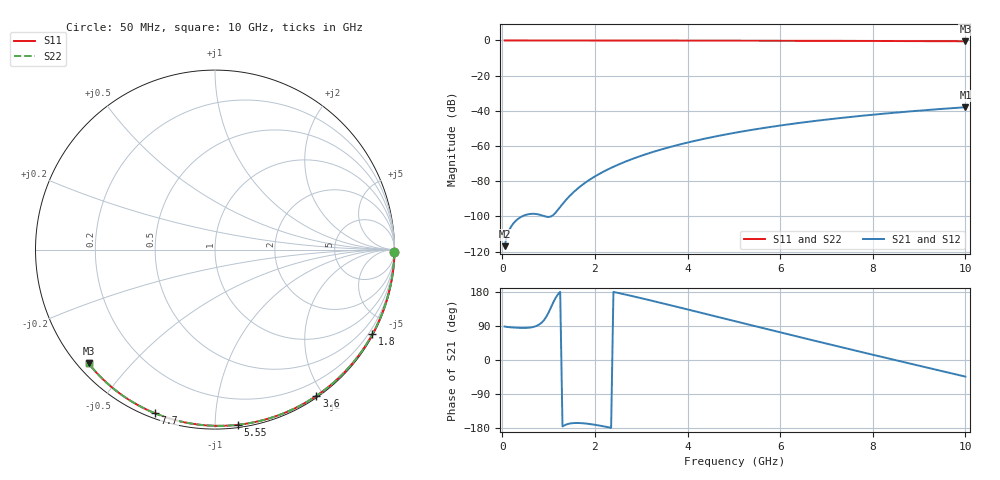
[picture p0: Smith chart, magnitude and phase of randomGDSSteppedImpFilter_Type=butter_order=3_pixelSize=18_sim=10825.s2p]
! freq	dB(S11)	phase(S11)	dB(S12)	phase(S12)
!  dB(S21)	phase(S21)	dB(S22)	phase(S22)
!S-par simulation data
#  GHz  S  DB  R 50
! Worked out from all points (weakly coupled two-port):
!   200 points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, 50 MHz to 10 GHz, reference 50 ohm
!   highest |S21| = -37.94 dB at 10 GHz (marker M1); lowest = -116.9 dB at 50 MHz (marker M2)
!   lowest |S11| = -0.5 dB at 10 GHz (marker M3), VSWR 37.12, Z = 1.54 - j19.2 ohm
!   |S11| at or under -10 dB: nowhere
!   |S22| runs from -0.5 to 0.0 dB; largest |S21 - S12| = 0
!   S11 on the Smith chart (normalised r, x): 50 MHz: open; 1.8 GHz: 0.03, -3.96; 3.6 GHz: 0.02, -1.91; 5.55 GHz: 0.02, -1.14; 7.7 GHz: 0.02, -0.70; 10 GHz: 0.03, -0.38
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0.05  -0.00 -0.8  -116.86 88.4  -116.86 88.4  -0.00 -0.8
0.45  -0.01 -7.2  -99.65 84.5  -99.65 84.5  -0.01 -7.2
0.9  -0.02 -14.3  -99.75 105.1  -99.75 105.1  -0.02 -14.3
1.75  -0.04 -27.5  -81.59 -167.0  -81.59 -167.0  -0.04 -27.5
1.8  -0.04 -28.3  -80.64 -167.6  -80.64 -167.6  -0.04 -28.3
1.85  -0.04 -29.1  -79.74 -168.3  -79.74 -168.3  -0.04 -29.1
2  -0.04 -31.4  -77.24 -171.0  -77.24 -171.0  -0.04 -31.4
2.15  -0.04 -33.7  -75.01 -174.2  -75.01 -174.2  -0.04 -33.7
2.35  -0.05 -36.7  -72.36 -179.0  -72.36 -179.0  -0.05 -36.7
2.55  -0.05 -39.8  -70.01 175.7  -70.01 175.7  -0.05 -39.8
2.95  -0.06 -45.7  -65.96 164.6  -65.96 164.6  -0.06 -45.7
3.4  -0.07 -52.4  -62.17 151.4  -62.17 151.4  -0.07 -52.4
3.6  -0.07 -55.3  -60.69 145.5  -60.69 145.5  -0.07 -55.3
4.3  -0.09 -65.3  -56.20 124.4  -56.20 124.4  -0.09 -65.3
5.05  -0.12 -75.7  -52.31 101.7  -52.31 101.7  -0.12 -75.7
5.55  -0.14 -82.5  -50.10 86.6  -50.10 86.6  -0.14 -82.5
6.1  -0.16 -89.8  -47.96 70.1  -47.96 70.1  -0.16 -89.8
6.7  -0.19 -97.6  -45.89 52.1  -45.89 52.1  -0.19 -97.6
7.7  -0.25 -110.1  -42.96 22.6  -42.96 22.6  -0.25 -110.1
8.35  -0.30 -118.1  -41.33 3.7  -41.33 3.7  -0.30 -118.1
9.2  -0.38 -128.4  -39.46 -20.8  -39.46 -20.8  -0.38 -128.4
10  -0.47 -138.0  -37.94 -43.8  -37.94 -43.8  -0.47 -138.0
